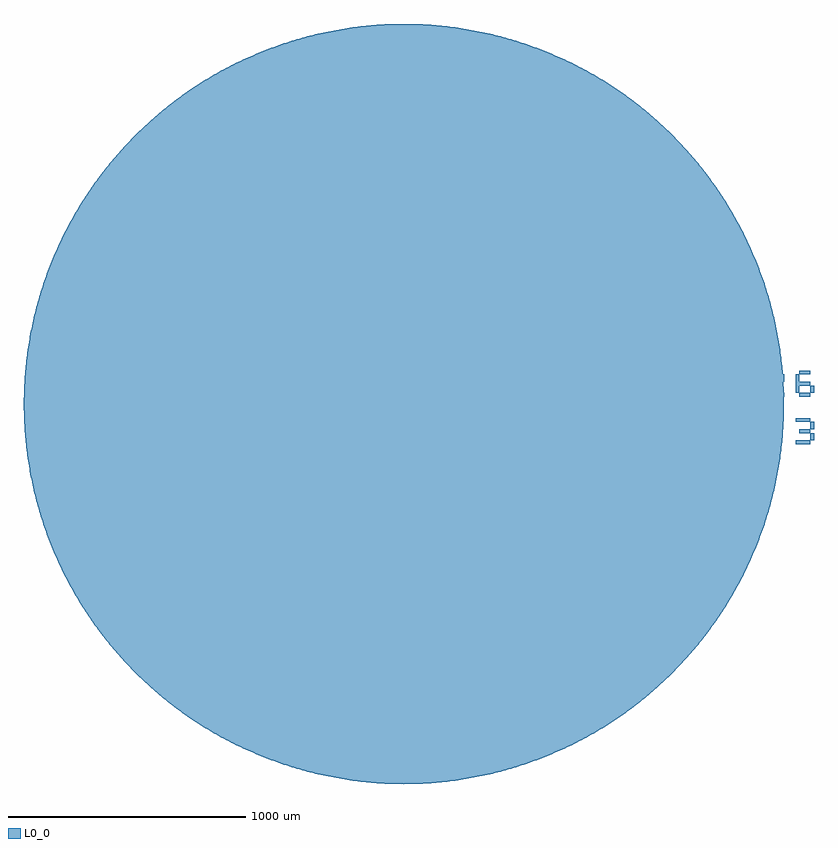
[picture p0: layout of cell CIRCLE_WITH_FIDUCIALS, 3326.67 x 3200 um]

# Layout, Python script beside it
import gdspy

# Constants and parameters
circle_radius = 3.2e3 / 2  # Radius in microns (3.2 mm divided by 2)
marker_width = 200  # Width of each line in the "+" mark in microns
fiducial_gap = 200  # Gap between fiducial marks in microns
font_size = 140  # Font size for annotations
annotations = [("A" + str(i + 1)) for i in range(26)]  # Generating annotations A1 - A26

def create_fiducial_marks(cell, center, gap, width, labels):
    for idx, label in enumerate(labels):
        x_offset = (idx % 13) * gap - (6 * gap)  # 0 to 12, centered around origin
        y_offset = (idx // 13) * gap - (gap // 2)  # 0 to 1, centered around origin

        # Create the "+" sign
        line_h = gdspy.Rectangle(
            (center[0] + x_offset - width / 2, center[1] + y_offset),
            (center[0] + x_offset + width / 2, center[1] + y_offset + width)
        )
        line_v = gdspy.Rectangle(
            (center[0] + x_offset, center[1] + y_offset - width / 2),
            (center[0] + x_offset + width, center[1] + y_offset + width / 2)
        )
        cell.add(line_h)
        cell.add(line_v)

        # Add the annotation
        label_text = gdspy.Text(
            label, font_size, (center[0] + x_offset + width, center[1] + y_offset - width / 2)
        )
        cell.add(label_text)

# Initialize the GDS Library and Layout Cell
gds_lib = gdspy.GdsLibrary()
layout_cell = gds_lib.new_cell('CIRCLE_WITH_FIDUCIALS')

# Create the main circle
circle = gdspy.Round((0, 0), circle_radius)
layout_cell.add(circle)

# Add fiducial marks with annotations
create_fiducial_marks(layout_cell, (0,0), fiducial_gap, marker_width, annotations)

# Save the design to a GDS file
gds_lib.write_gds('circle_with_fiducials.gds')

# Optionally, if you use an environment that directly supports visualization (like Jupyter):
